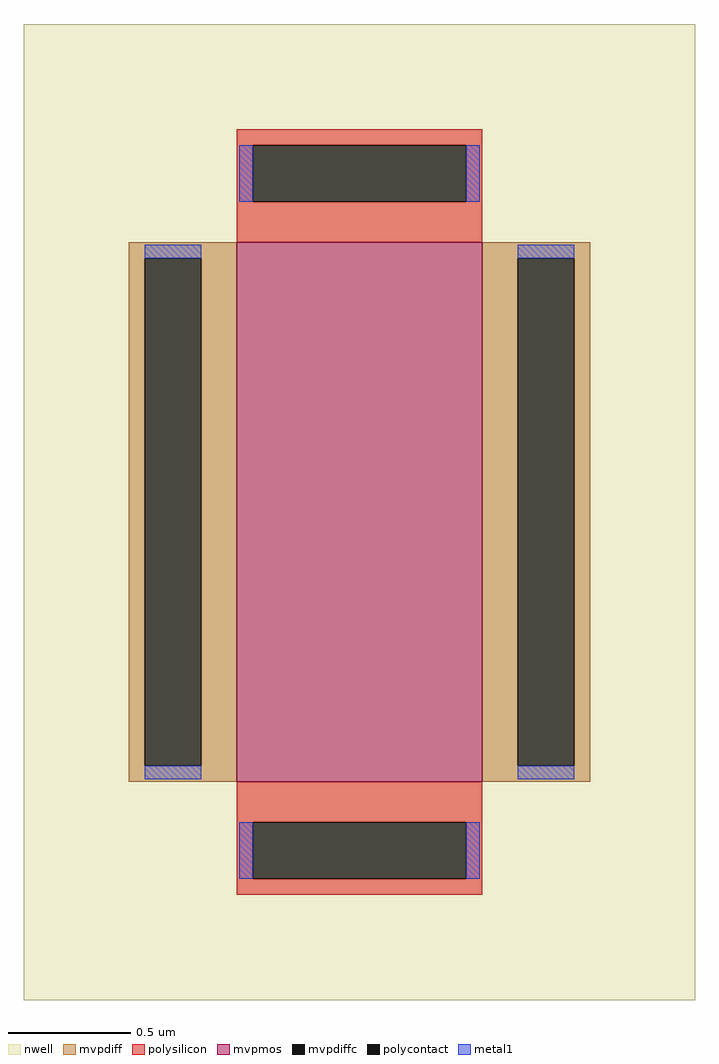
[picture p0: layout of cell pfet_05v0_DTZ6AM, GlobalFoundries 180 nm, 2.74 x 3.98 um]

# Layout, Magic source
magic
tech gf180mcuD
magscale 1 10
<< nwell >>
rect -274 -398 274 398
<< mvpmos >>
rect -100 -220 100 220
<< mvpdiff >>
rect -188 207 -100 220
rect -188 -207 -175 207
rect -129 -207 -100 207
rect -188 -220 -100 -207
rect 100 207 188 220
rect 100 -207 129 207
rect 175 -207 188 207
rect 100 -220 188 -207
<< mvpdiffc >>
rect -175 -207 -129 207
rect 129 -207 175 207
<< polysilicon >>
rect -100 299 100 312
rect -100 253 -87 299
rect 87 253 100 299
rect -100 220 100 253
rect -100 -253 100 -220
rect -100 -299 -87 -253
rect 87 -299 100 -253
rect -100 -312 100 -299
<< polycontact >>
rect -87 253 87 299
rect -87 -299 87 -253
<< metal1 >>
rect -98 253 -87 299
rect 87 253 98 299
rect -175 207 -129 218
rect -175 -218 -129 -207
rect 129 207 175 218
rect 129 -218 175 -207
rect -98 -299 -87 -253
rect 87 -299 98 -253
<< properties >>
string gencell pfet_05v0
string library gf180mcu
string parameters w 2.2 l 1 m 1 nf 1 diffcov 100 polycov 100 guard 0 glc 0 grc 0 gtc 0 gbc 0 tbcov 100 rlcov 100 topc 0 botc 0 poverlap 1 doverlap 1 lmin 0.5 wmin 0.3 class mosfet full_metal 0 compatible {pfet_03v3 pfet_05v0 pfet_06v0}
<< end >>
